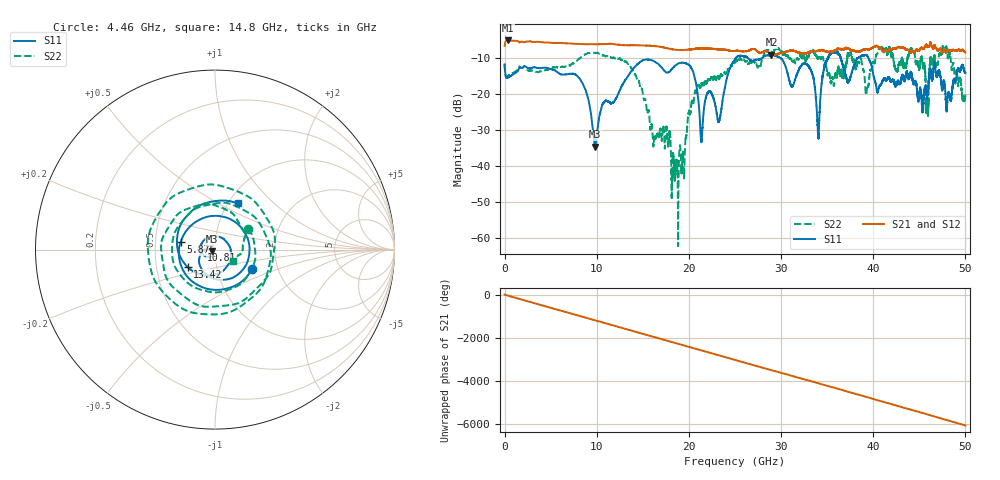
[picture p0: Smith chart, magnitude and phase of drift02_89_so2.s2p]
!Created with skrf (http://scikit-rf.org).
# Hz S RI R 50.0
!freq ReS11 ImS11 ReS21 ImS21 ReS12 ImS12 ReS22 ImS22
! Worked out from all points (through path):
!   10001 points, 300 kHz to 50 GHz, reference 50 ohm
!   highest |S21| = -5.04 dB at 340.3 MHz (marker M1); lowest = -9.0 dB at 28.96 GHz (marker M2)
!   group delay of S21, straight-line fit = 336 ps
!   lowest |S11| = -34.5 dB at 9.83 GHz (marker M3), VSWR 1.04, Z = 48.4 - j0.983 ohm
!   |S11| at or under -10 dB: start of sweep to 25.07 GHz; 29.96 GHz to 35.07 GHz (5.108 GHz wide, 15.7 % of centre); 39.48 GHz to end of sweep (the widest 3 of 10)
!   |S22| runs from -62.2 to -6.4 dB; largest |S21 - S12| = 0.021
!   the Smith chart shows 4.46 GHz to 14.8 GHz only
!   S11 on the Smith chart (normalised r, x): 4.46 GHz: 1.48, -0.34; 5.875 GHz: 0.68, +0.06; 10.81 GHz: 0.86, +0.00; 13.42 GHz: 0.72, -0.15; 14.8 GHz: 1.10, +0.62
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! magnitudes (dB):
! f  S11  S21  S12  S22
! 300 kHz  -11.7  -6.5  -6.4  -11.5
! 340.3 MHz  -15.3  -5.0  -5.0  -15.0
! 4.46 GHz  -12.6  -5.6  -5.6  -13.2
! 5.875 GHz  -14.1  -5.7  -5.7  -12.5
! 8.335 GHz  -16.4  -6.0  -6.0  -9.6
! 9.83 GHz  -34.5  -6.1  -6.1  -8.5
! 10.81 GHz  -22.2  -6.1  -6.0  -9.2
! 13.42 GHz  -14.9  -6.4  -6.4  -11.6
! 14.8 GHz  -10.9  -6.4  -6.4  -18.5
! 16.67 GHz  -11.6  -6.7  -6.7  -31.5
! 18.66 GHz  -11.8  -7.7  -7.7  -38.6
! 20.37 GHz  -13.3  -7.5  -7.5  -22.0
! 21.37 GHz  -32.4  -7.2  -7.2  -16.9
! 25 GHz  -10.3  -7.9  -7.9  -11.2
! 28.96 GHz  -9.2  -9.0  -9.0  -8.4
! 33.34 GHz  -13.9  -8.1  -8.1  -8.0
! 34.02 GHz  -31.7  -7.9  -7.9  -10.1
! 35.54 GHz  -8.3  -8.1  -8.1  -15.3
! 41.67 GHz  -15.3  -7.7  -7.8  -7.5
! 45.87 GHz  -20.7  -6.9  -6.9  -22.5
! 47.76 GHz  -17.3  -7.5  -7.5  -7.7
! 50 GHz  -14.0  -8.4  -8.4  -20.1
